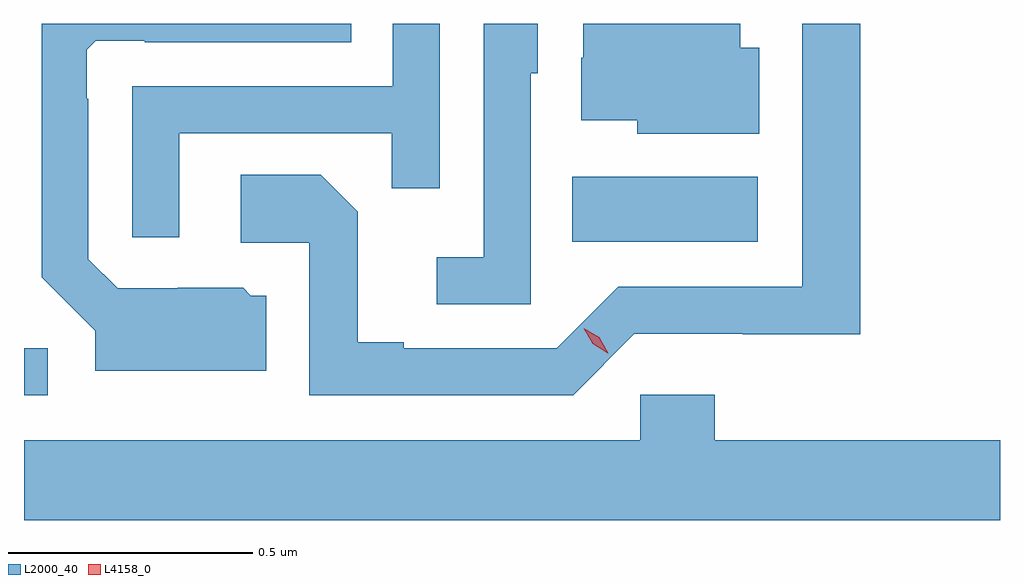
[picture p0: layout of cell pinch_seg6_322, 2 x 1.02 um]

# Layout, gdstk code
import gdstk
lib = gdstk.Library(unit=1e-6, precision=1e-09)
def R(c, l, rs):  # rectangles x0, y0, x1, y1
    for r in rs: c.add(gdstk.rectangle(r[:2], r[2:], *l))
def P(c, l, *ps):  # polygons
    for p in ps: c.add(gdstk.Polygon(p, *l))
L2000_40 = (2000, 40)
L4158_0 = (4158, 0)

pinch_seg6_322 = lib.new_cell('pinch_seg6_322')
R(pinch_seg6_322, L2000_40, [(638.853,974.232,638.902,974.328), (639.976,974.546,640.357,974.68)])
P(pinch_seg6_322, L2000_40, [(639.891,974.892),(639.906,974.892),(639.906,974.993),(639.795,974.993),(639.795,974.515),(639.699,974.515),(639.699,974.418),(639.891,974.418)],
  [(639.171,974.769),(639.607,974.769),(639.607,974.656),(639.705,974.656),(639.705,974.993),(639.609,974.993),(639.609,974.865),(639.075,974.865),(639.075,974.556),(639.171,974.556)],
  [(640.36,974.944),(640.321,974.944),(640.321,974.993),(639.999,974.993),(639.999,974.924),(639.995,974.924),(639.995,974.795),(640.11,974.795),(640.11,974.768),(640.36,974.768)],
  [(639.349,974.436),(639.318,974.436),(639.302,974.452),(639.168,974.452),(639.168,974.451),(639.045,974.451),(638.985,974.511),(638.985,974.84),(638.982,974.84),(638.982,974.94),(639,974.958),(639.1,974.958),(639.1,974.955),(639.524,974.955),(639.524,974.993),(638.889,974.993),(638.889,974.474),(638.999,974.364),(638.999,974.282),(639.349,974.282)],
  [(640.104,974.358),(640.326,974.358),(640.326,974.357),(640.567,974.357),(640.567,974.993),(640.448,974.993),(640.448,974.454),(640.071,974.454),(639.945,974.328),(639.631,974.328),(639.631,974.341),(639.537,974.341),(639.537,974.608),(639.461,974.684),(639.297,974.684),(639.297,974.544),(639.438,974.544),(639.438,974.232),(639.978,974.232)],
  [(640.853,974.14),(640.268,974.14),(640.268,974.233),(640.116,974.233),(640.116,974.14),(638.853,974.14),(638.853,973.976),(640.853,973.976)])
P(pinch_seg6_322, L4158_0, [(640.049,974.318),(640.018,974.337),(640,974.369),(640,974.369),(640,974.369),(640.032,974.351),(640.05,974.318),(640.05,974.318)])

lib.write_gds('pinch_seg6_322.gds')
